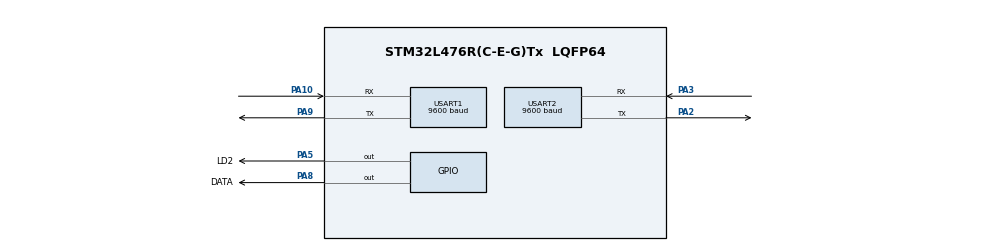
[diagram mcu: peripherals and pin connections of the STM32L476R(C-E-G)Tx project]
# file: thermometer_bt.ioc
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Mcu.Family=STM32L4
Mcu.Name=STM32L476R(C-E-G)Tx
Mcu.Package=LQFP64
NVIC.PriorityGroup=NVIC_PRIORITYGROUP_4
NVIC.USART1_IRQn=true\:0\:0\:false\:false\:true\:true\:true
NVIC.USART2_IRQn=true\:0\:0\:false\:false\:true\:true\:true
PA0.Mode=SYS_WakeUp0
PA0.Signal=SYS_WKUP1
PA10.Mode=Asynchronous
PA10.Signal=USART1_RX
PA2.Mode=Asynchronous
PA2.Signal=USART2_TX
PA3.Mode=Asynchronous
PA3.Signal=USART2_RX
PA5.GPIO_Label=LD2
PA5.Signal=GPIO_Output
PA8.GPIO_Label=DATA
PA8.Signal=GPIO_Output
PA9.Mode=Asynchronous
PA9.Signal=USART1_TX
ProjectManager.HeapSize=0x200
ProjectManager.StackSize=0x400
ProjectManager.TargetToolchain=MDK-ARM V5.32
RCC.HSE_VALUE=8000000
RCC.HSI_VALUE=16000000
RCC.MSI_VALUE=4000000
RCC.RTCClockSelection=RCC_RTCCLKSOURCE_LSE
RCC.VCOOutputFreq_Value=32000000
TIM7.Prescaler=3
USART1.BaudRate=9600
USART1.VirtualMode-Asynchronous=VM_ASYNC
USART2.BaudRate=9600
USART2.VirtualMode-Asynchronous=VM_ASYNC
VP_TIM7_VS_ClockSourceINT.Mode=Enable_Timer
board=custom

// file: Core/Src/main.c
/* USER CODE BEGIN Header */
/**
  ******************************************************************************
  * @file           : main.c
  * @brief          : Main program body
  ******************************************************************************
  * @attention
  *
  * <h2><center>&copy; Copyright (c) 2021 STMicroelectronics.
  * All rights reserved.</center></h2>
  *
  * This software component is licensed by ST under BSD 3-Clause license,
  * the "License"; You may not use this file except in compliance with the
  * License. You may obtain a copy of the License at:
  *                        opensource.org/licenses/BSD-3-Clause
  *
  ******************************************************************************
  */
/* USER CODE END Header */
#include "main.h"

/* USER CODE BEGIN Includes */
#include <stdio.h>
#include "dht11.h"
#include "uart_queue.h"
/* USER CODE END Includes */

TIM_HandleTypeDef htim7;

UART_HandleTypeDef huart1;
UART_HandleTypeDef huart2;

void SystemClock_Config(void);
static void MX_GPIO_Init(void);
static void MX_USART2_UART_Init(void);
static void MX_TIM7_Init(void);
static void MX_USART1_UART_Init(void);

/* USER CODE BEGIN 0 */
#ifdef __GNUC__
  /* With GCC, small printf (option LD Linker->Libraries->Small printf
     set to 'Yes') calls __io_putchar() */
  #define PUTCHAR_PROTOTYPE int __io_putchar(int ch)
#else
  #define PUTCHAR_PROTOTYPE int fputc(int ch, FILE *f)
#endif /* __GNUC__ */

PUTCHAR_PROTOTYPE
{
  /* Place your implementation of fputc here */
  /* e.g. write a character to the EVAL_COM1 and Loop until the end of transmission */
  HAL_UART_Transmit(&huart2, (uint8_t *)&ch, 1, HAL_MAX_DELAY);

  return ch;
}
/* USER CODE END 0 */

int main(void)
{

  /* MCU Configuration--------------------------------------------------------*/

  /* Reset of all peripherals, Initializes the Flash interface and the Systick. */
  HAL_Init();

  /* Configure the system clock */
  SystemClock_Config();

  /* Initialize all configured peripherals */
  MX_GPIO_Init();
  MX_USART2_UART_Init();
  MX_TIM7_Init();
  MX_USART1_UART_Init();
  /* USER CODE BEGIN 2 */
  char send_buff[32];

  dht11_data d;
  dht11_init();
  uart_queue_init();

  if(__HAL_PWR_GET_FLAG(PWR_FLAG_SB) != RESET)
  {
    /* Clear Standby flag */
    __HAL_PWR_CLEAR_FLAG(PWR_FLAG_SB);
		printf("wake up from standby\r\n");
    /* Check and Clear the Wakeup flag */
    if(__HAL_PWR_GET_FLAG(PWR_FLAG_WUF1) != RESET)
    {
      __HAL_PWR_CLEAR_FLAG(PWR_FLAG_WUF1);
    }
  }
  HAL_PWR_DisableWakeUpPin(PWR_FLAG_WUF1);

  GPIO_InitTypeDef GPIO_InitStruct = {0};
  __HAL_RCC_GPIOA_CLK_ENABLE();

  GPIO_InitStruct.Pin = GPIO_PIN_0;
  GPIO_InitStruct.Mode = GPIO_MODE_INPUT;
  GPIO_InitStruct.Pull = GPIO_PULLUP;
  HAL_GPIO_Init(GPIOA, &GPIO_InitStruct);

  /* USER CODE END 2 */

  /* Infinite loop */
  /* USER CODE BEGIN WHILE */
  while (1)
  {
    HAL_Delay(1000);

    if(HAL_GPIO_ReadPin(GPIOA, GPIO_PIN_0) == GPIO_PIN_RESET)
    {
      HAL_PWR_EnableWakeUpPin(PWR_WAKEUP_PIN1);
      __HAL_PWR_CLEAR_FLAG(PWR_FLAG_WUF1);

      printf("enter standby mode\r\n");
      HAL_PWR_EnterSTANDBYMode();
    }
    else
    {
      if(dht11_read(&d))
      {
        sprintf(send_buff, "temperature: %dC, humidity: %d%%\r\n", d.tempature, d.humidity);
        printf("%s", send_buff);
        uart_send_string(send_buff, device_uart);
      }
      else
      {
        printf("DHT11 error\r\n");
        uart_send_string("DHT11 error\r\n", device_uart);
      }
    }
    /*
    if(is_data_available(pc_uart))
    {
      int data = uart_read(pc_uart);
      uart_write(data, device_uart);
    }
    if(is_data_available(device_uart))
    {
      int data = uart_read(device_uart);
      uart_write(data, pc_uart);
    }
    */

    /* USER CODE END WHILE */

  }
}

void SystemClock_Config(void)
{
  RCC_OscInitTypeDef RCC_OscInitStruct = {0};
  RCC_ClkInitTypeDef RCC_ClkInitStruct = {0};

  /** Configure the main internal regulator output voltage
  */
  if (HAL_PWREx_ControlVoltageScaling(PWR_REGULATOR_VOLTAGE_SCALE1) != HAL_OK)
  {
    Error_Handler();
  }
  /** Initializes the RCC Oscillators according to the specified parameters
  * in the RCC_OscInitTypeDef structure.
  */
  RCC_OscInitStruct.OscillatorType = RCC_OSCILLATORTYPE_MSI;
  RCC_OscInitStruct.MSIState = RCC_MSI_ON;
  RCC_OscInitStruct.MSICalibrationValue = 0;
  RCC_OscInitStruct.MSIClockRange = RCC_MSIRANGE_6;
  RCC_OscInitStruct.PLL.PLLState = RCC_PLL_NONE;
  if (HAL_RCC_OscConfig(&RCC_OscInitStruct) != HAL_OK)
  {
    Error_Handler();
  }
  /** Initializes the CPU, AHB and APB buses clocks
  */
  RCC_ClkInitStruct.ClockType = RCC_CLOCKTYPE_HCLK|RCC_CLOCKTYPE_SYSCLK
                              |RCC_CLOCKTYPE_PCLK1|RCC_CLOCKTYPE_PCLK2;
  RCC_ClkInitStruct.SYSCLKSource = RCC_SYSCLKSOURCE_MSI;
  RCC_ClkInitStruct.AHBCLKDivider = RCC_SYSCLK_DIV1;
  RCC_ClkInitStruct.APB1CLKDivider = RCC_HCLK_DIV1;
  RCC_ClkInitStruct.APB2CLKDivider = RCC_HCLK_DIV1;

  if (HAL_RCC_ClockConfig(&RCC_ClkInitStruct, FLASH_LATENCY_0) != HAL_OK)
  {
    Error_Handler();
  }
}

static void MX_TIM7_Init(void)
{

  TIM_MasterConfigTypeDef sMasterConfig = {0};

  htim7.Instance = TIM7;
  htim7.Init.Prescaler = 3;
  htim7.Init.CounterMode = TIM_COUNTERMODE_UP;
  htim7.Init.Period = 65535;
  htim7.Init.AutoReloadPreload = TIM_AUTORELOAD_PRELOAD_DISABLE;
  if (HAL_TIM_Base_Init(&htim7) != HAL_OK)
  {
    Error_Handler();
  }
  sMasterConfig.MasterOutputTrigger = TIM_TRGO_RESET;
  sMasterConfig.MasterSlaveMode = TIM_MASTERSLAVEMODE_DISABLE;
  if (HAL_TIMEx_MasterConfigSynchronization(&htim7, &sMasterConfig) != HAL_OK)
  {
    Error_Handler();
  }

}

static void MX_USART1_UART_Init(void)
{

  huart1.Instance = USART1;
  huart1.Init.BaudRate = 9600;
  huart1.Init.WordLength = UART_WORDLENGTH_8B;
  huart1.Init.StopBits = UART_STOPBITS_1;
  huart1.Init.Parity = UART_PARITY_NONE;
  huart1.Init.Mode = UART_MODE_TX_RX;
  huart1.Init.HwFlowCtl = UART_HWCONTROL_NONE;
  huart1.Init.OverSampling = UART_OVERSAMPLING_16;
  huart1.Init.OneBitSampling = UART_ONE_BIT_SAMPLE_DISABLE;
  huart1.AdvancedInit.AdvFeatureInit = UART_ADVFEATURE_NO_INIT;
  if (HAL_UART_Init(&huart1) != HAL_OK)
  {
    Error_Handler();
  }

}

static void MX_USART2_UART_Init(void)
{

  huart2.Instance = USART2;
  huart2.Init.BaudRate = 9600;
  huart2.Init.WordLength = UART_WORDLENGTH_8B;
  huart2.Init.StopBits = UART_STOPBITS_1;
  huart2.Init.Parity = UART_PARITY_NONE;
  huart2.Init.Mode = UART_MODE_TX_RX;
  huart2.Init.HwFlowCtl = UART_HWCONTROL_NONE;
  huart2.Init.OverSampling = UART_OVERSAMPLING_16;
  huart2.Init.OneBitSampling = UART_ONE_BIT_SAMPLE_DISABLE;
  huart2.AdvancedInit.AdvFeatureInit = UART_ADVFEATURE_NO_INIT;
  if (HAL_UART_Init(&huart2) != HAL_OK)
  {
    Error_Handler();
  }

}

static void MX_GPIO_Init(void)
{
  GPIO_InitTypeDef GPIO_InitStruct = {0};

  /* GPIO Ports Clock Enable */
  __HAL_RCC_GPIOA_CLK_ENABLE();

  /*Configure GPIO pin Output Level */
  HAL_GPIO_WritePin(GPIOA, LD2_Pin|DATA_Pin, GPIO_PIN_RESET);

  /*Configure GPIO pins : LD2_Pin DATA_Pin */
  GPIO_InitStruct.Pin = LD2_Pin|DATA_Pin;
  GPIO_InitStruct.Mode = GPIO_MODE_OUTPUT_PP;
  GPIO_InitStruct.Pull = GPIO_NOPULL;
  GPIO_InitStruct.Speed = GPIO_SPEED_FREQ_LOW;
  HAL_GPIO_Init(GPIOA, &GPIO_InitStruct);

}

void Error_Handler(void)
{
  __disable_irq();
  while (1)
  {
  }
}

/************************ (C) COPYRIGHT STMicroelectronics *****END OF FILE****/
